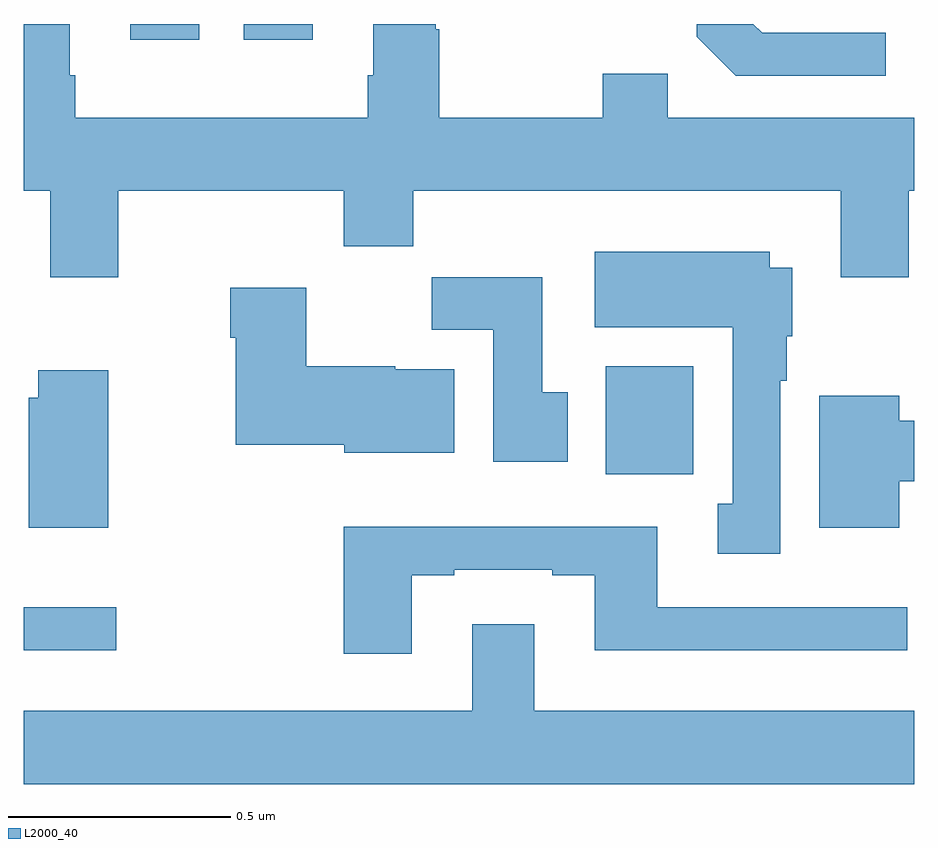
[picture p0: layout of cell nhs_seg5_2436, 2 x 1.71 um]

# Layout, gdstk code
import gdstk
lib = gdstk.Library(unit=1e-6, precision=1e-09)
def R(c, l, rs):  # rectangles x0, y0, x1, y1
    for r in rs: c.add(gdstk.rectangle(r[:2], r[2:], *l))
def P(c, l, *ps):  # polygons
    for p in ps: c.add(gdstk.Polygon(p, *l))
L2000_40 = (2000, 40)

nhs_seg5_2436 = lib.new_cell('nhs_seg5_2436')
R(nhs_seg5_2436, L2000_40, [(144,858.392,144.208,858.489), (145.307,858.788,145.504,859.03), (144.239,859.764,144.394,859.799), (144.494,859.764,144.649,859.799)])
P(nhs_seg5_2436, L2000_40, [(145.936,859.779),(145.659,859.779),(145.639,859.799),(145.512,859.799),(145.512,859.77),(145.599,859.683),(145.936,859.683)],
  [(145.446,859.687),(145.3,859.687),(145.3,859.588),(144.933,859.588),(144.933,859.787),(144.925,859.787),(144.925,859.799),(144.785,859.799),(144.785,859.684),(144.773,859.684),(144.773,859.588),(144.116,859.588),(144.116,859.684),(144.103,859.684),(144.103,859.799),(144,859.799),(144,859.424),(144.059,859.424),(144.059,859.23),(144.212,859.23),(144.212,859.424),(144.719,859.424),(144.719,859.3),(144.875,859.3),(144.875,859.424),(145.835,859.424),(145.835,859.23),(145.988,859.23),(145.988,859.424),(146,859.424),(146,859.588),(145.446,859.588)],
  [(145.699,858.998),(145.714,858.998),(145.714,859.098),(145.726,859.098),(145.726,859.252),(145.675,859.252),(145.675,859.288),(145.283,859.288),(145.283,859.118),(145.592,859.118),(145.592,858.722),(145.559,858.722),(145.559,858.609),(145.699,858.609)],
  [(145.222,858.972),(145.165,858.972),(145.165,859.23),(144.916,859.23),(144.916,859.112),(145.055,859.112),(145.055,858.816),(145.222,858.816)],
  [(144.967,859.024),(144.834,859.024),(144.834,859.03),(144.634,859.03),(144.634,859.207),(144.464,859.207),(144.464,859.094),(144.476,859.094),(144.476,858.854),(144.72,858.854),(144.72,858.836),(144.967,858.836)],
  [(144.19,859.021),(144.032,859.021),(144.032,858.96),(144.011,858.96),(144.011,858.668),(144.19,858.668)],
  [(145.966,858.772),(146,858.772),(146,858.908),(145.966,858.908),(145.966,858.964),(145.787,858.964),(145.787,858.668),(145.966,858.668)],
  [(144.871,858.561),(144.967,858.561),(144.967,858.573),(145.187,858.573),(145.187,858.561),(145.283,858.561),(145.283,858.392),(145.984,858.392),(145.984,858.489),(145.423,858.489),(145.423,858.67),(144.719,858.67),(144.719,858.384),(144.871,858.384)],
  [(146,858.256),(145.147,858.256),(145.147,858.451),(145.007,858.451),(145.007,858.256),(144,858.256),(144,858.092),(146,858.092)])

lib.write_gds('nhs_seg5_2436.gds')
